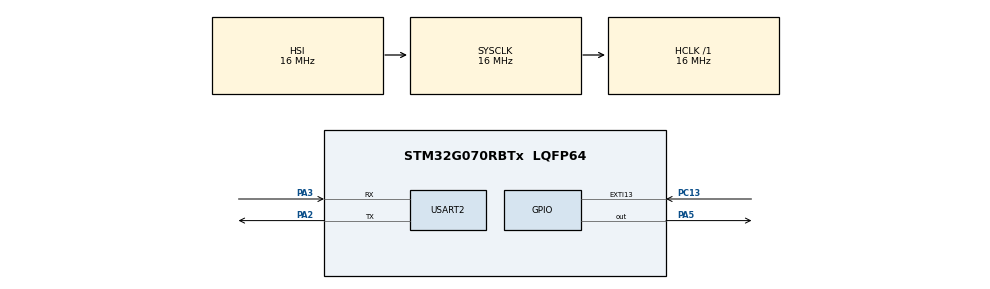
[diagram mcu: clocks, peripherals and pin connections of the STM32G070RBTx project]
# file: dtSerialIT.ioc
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Mcu.Family=STM32G0
Mcu.Name=STM32G070RBTx
Mcu.Package=LQFP64
NVIC.EXTI4_15_IRQn=true\:0\:0\:false\:false\:true\:true\:true\:true
NVIC.USART2_IRQn=true\:0\:0\:false\:false\:true\:true\:true\:true
PA13.Mode=Serial_Wire
PA13.Signal=SYS_SWDIO
PA14-BOOT0.Mode=Serial_Wire
PA14-BOOT0.Signal=SYS_SWCLK
PA2.Mode=Asynchronous
PA2.Signal=USART2_TX
PA3.Mode=Asynchronous
PA3.Signal=USART2_RX
PA5.Signal=GPIO_Output
PC13.GPIO_ModeDefaultEXTI=GPIO_MODE_IT_FALLING
PC13.Signal=GPXTI13
ProjectManager.HeapSize=0x200
ProjectManager.StackSize=0x400
ProjectManager.TargetToolchain=STM32CubeIDE
RCC.AHBFreq_Value=16000000
RCC.CortexFreq_Value=16000000
RCC.EXTERNAL_CLOCK_VALUE=48000
RCC.HCLKFreq_Value=16000000
RCC.HSE_VALUE=8000000
RCC.HSI_VALUE=16000000
RCC.LSE_VALUE=32768
RCC.SYSCLKFreq_VALUE=16000000
RCC.VCOOutputFreq_Value=128000000
USART2.VirtualMode-Asynchronous=VM_ASYNC
VP_SYS_VS_DBSignals.Mode=DisableDeadBatterySignals
board=custom

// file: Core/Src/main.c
/* USER CODE BEGIN Header */
/**
  ******************************************************************************
  * @file           : main.c
  * @brief          : Main program body
  ******************************************************************************
  * @attention
  *
  * Copyright (c) 2022 STMicroelectronics.
  * All rights reserved.
  *
  * This software is licensed under terms that can be found in the LICENSE file
  * in the root directory of this software component.
  * If no LICENSE file comes with this software, it is provided AS-IS.
  *
  ******************************************************************************
  */
/* USER CODE END Header */
#include "main.h"
#include "usart.h"
#include "gpio.h"

/* USER CODE BEGIN PD */
#define TXBUFFERSIZE sizeof(message)
/* USER CODE END PD */

/* USER CODE BEGIN PV */
ITStatus UartReady = RESET;
ITStatus RxUartComplete = RESET;
uint32_t UserButtonStatus = 0;

uint8_t message[] = "Mensagem enviada!";

//uint8_t TXBUFFERSIZE = sizeof(message);

uint8_t messageb[TXBUFFERSIZE];

int BufferLength, aMsg, aMsgb;
/* USER CODE END PV */

void SystemClock_Config(void);

int main(void)
{

  /* MCU Configuration--------------------------------------------------------*/

  /* Reset of all peripherals, Initializes the Flash interface and the Systick. */
  HAL_Init();

  /* Configure the system clock */
  SystemClock_Config();

  /* Initialize all configured peripherals */
  MX_GPIO_Init();
  MX_USART2_UART_Init();

  /* Infinite loop */
  /* USER CODE BEGIN WHILE */
  while (1)
  {
	  while(!UserButtonStatus){
		  HAL_GPIO_TogglePin(GPIOA, GPIO_PIN_5);
		  HAL_Delay(200);
	  }

	  HAL_GPIO_WritePin(GPIOA, GPIO_PIN_5, GPIO_PIN_RESET);

	  if(HAL_UART_Receive_IT(&huart2, (uint8_t *)messageb, TXBUFFERSIZE) != HAL_OK){
	  		  Error_Handler();
	  }

	  if(HAL_UART_Transmit_IT(&huart2, (uint8_t *)message, TXBUFFERSIZE) != HAL_OK){
		  Error_Handler();
	  }

	  HAL_Delay(100);

	  while (BufferLength < TXBUFFERSIZE){

	      if (message[BufferLength] != messageb[BufferLength]){
	    	  Error_Handler();
	      }

	      BufferLength++;
	  }
	  BufferLength = 0;

    /* USER CODE END WHILE */

  }
}

void SystemClock_Config(void)
{
  RCC_OscInitTypeDef RCC_OscInitStruct = {0};
  RCC_ClkInitTypeDef RCC_ClkInitStruct = {0};

  /** Configure the main internal regulator output voltage
  */
  HAL_PWREx_ControlVoltageScaling(PWR_REGULATOR_VOLTAGE_SCALE1);

  /** Initializes the RCC Oscillators according to the specified parameters
  * in the RCC_OscInitTypeDef structure.
  */
  RCC_OscInitStruct.OscillatorType = RCC_OSCILLATORTYPE_HSI;
  RCC_OscInitStruct.HSIState = RCC_HSI_ON;
  RCC_OscInitStruct.HSIDiv = RCC_HSI_DIV1;
  RCC_OscInitStruct.HSICalibrationValue = RCC_HSICALIBRATION_DEFAULT;
  RCC_OscInitStruct.PLL.PLLState = RCC_PLL_NONE;
  if (HAL_RCC_OscConfig(&RCC_OscInitStruct) != HAL_OK)
  {
    Error_Handler();
  }

  /** Initializes the CPU, AHB and APB buses clocks
  */
  RCC_ClkInitStruct.ClockType = RCC_CLOCKTYPE_HCLK|RCC_CLOCKTYPE_SYSCLK
                              |RCC_CLOCKTYPE_PCLK1;
  RCC_ClkInitStruct.SYSCLKSource = RCC_SYSCLKSOURCE_HSI;
  RCC_ClkInitStruct.AHBCLKDivider = RCC_SYSCLK_DIV1;
  RCC_ClkInitStruct.APB1CLKDivider = RCC_HCLK_DIV1;

  if (HAL_RCC_ClockConfig(&RCC_ClkInitStruct, FLASH_LATENCY_0) != HAL_OK)
  {
    Error_Handler();
  }
}

/* USER CODE BEGIN 4 */
void HAL_GPIO_EXTI_Falling_Callback(uint16_t GPIO_Pin)
{
  if(GPIO_Pin == GPIO_PIN_13){
	  UserButtonStatus = 1;
  }

  /* NOTE: This function should not be modified, when the callback is needed,
           the HAL_GPIO_EXTI_Falling_Callback could be implemented in the user file
   */
}

void HAL_UART_TxCpltCallback(UART_HandleTypeDef *huart)
{
	UartReady = SET;
	UserButtonStatus = 0;
}

void HAL_UART_RxCpltCallback(UART_HandleTypeDef *huart)
{
  RxUartComplete = SET;
}
/* USER CODE END 4 */

void Error_Handler(void)
{
  /* USER CODE BEGIN Error_Handler_Debug */
  /* User can add his own implementation to report the HAL error return state */
  __disable_irq();
  while (1)
  {
	  HAL_GPIO_WritePin(GPIOA, GPIO_PIN_5, GPIO_PIN_SET);
  }
  /* USER CODE END Error_Handler_Debug */
}
